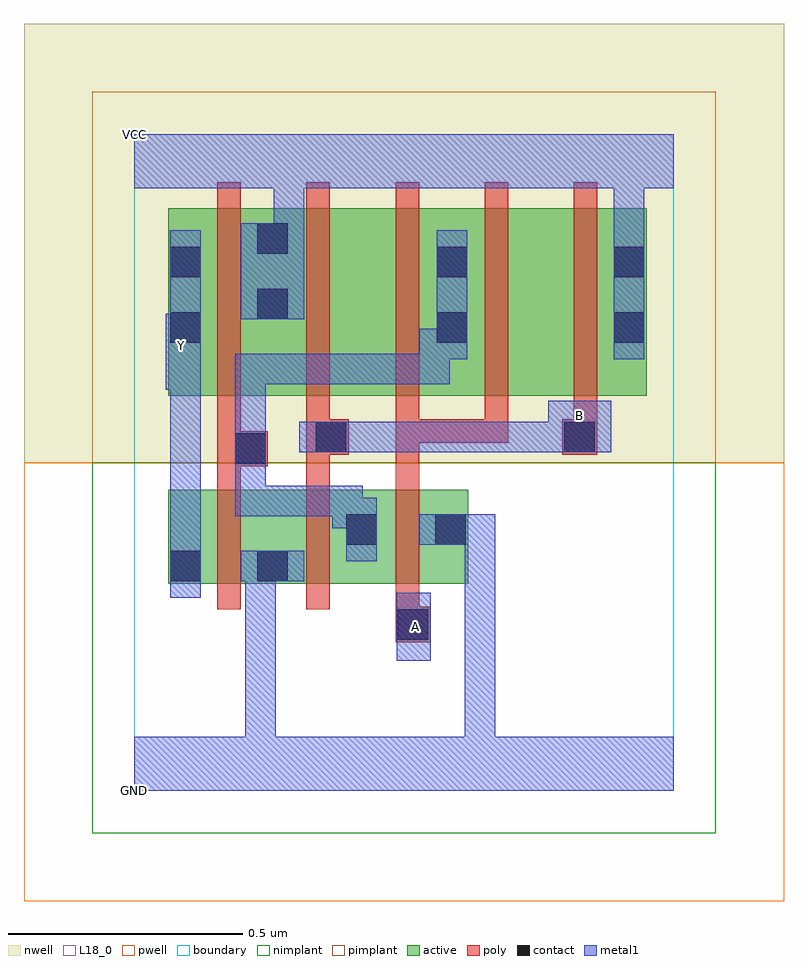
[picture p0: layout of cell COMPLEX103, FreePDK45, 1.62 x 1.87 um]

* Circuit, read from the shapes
.subckt COMPLEX103 A B GND VCC Y
M1 GND n1 Y VSUBS nfet w=0.2u l=0.05u
M2 n1 B GND VSUBS nfet w=0.2u l=0.05u
M3 GND A n1 VSUBS nfet w=0.2u l=0.05u
M4 VCC n1 Y n2 pfet w=0.4u l=0.05u
M5 n3 B VCC n2 pfet w=0.4u l=0.05u
M6 n1 A n3 n2 pfet w=0.4u l=0.05u
M7 n4 A n1 n2 pfet w=0.4u l=0.05u
M8 VCC B n4 n2 pfet w=0.4u l=0.05u
.ends

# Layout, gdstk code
import gdstk
lib = gdstk.Library(unit=1e-6, precision=1e-09)
def R(c, l, rs):  # rectangles x0, y0, x1, y1
    for r in rs: c.add(gdstk.rectangle(r[:2], r[2:], *l))
def A(c, l, x, y, w, h, nx, ny, dx, dy):  # array of equal rectangles
    R(c, l, [(x+i*dx, y+j*dy, x+i*dx+w, y+j*dy+h) for i in range(nx) for j in range(ny)])
active = (1, 0)
pwell = (2, 0)
nwell = (3, 0)
nimplant = (4, 0)
pimplant = (5, 0)
poly = (9, 0)
contact = (10, 0)
metal1 = (11, 0)
L18_0 = (18, 0)
boundary = (235, 0)

complex103 = lib.new_cell('COMPLEX103')
R(complex103, active, [(0.072,0.442,0.147,0.642), (0.072,0.442,0.332,0.642), (0.257,0.442,0.522,0.642), (0.257,0.442,0.332,0.58), (0.447,0.442,0.712,0.642), (0.637,0.442,0.712,0.642), (0.447,0.445,0.522,0.642), (0.072,0.842,0.147,1.165), (0.072,0.842,0.332,1.242), (0.257,0.842,0.487,1.242), (0.257,0.842,0.332,1.242), (0.487,0.842,0.715,1.242), (0.64,0.842,0.715,1.165), (0.64,0.842,0.867,1.242), (0.867,0.842,1.092,1.242), (1.017,0.842,1.092,1.165)])
R(complex103, pwell, [(-0.235,-0.235,1.385,0.7)])
R(complex103, nwell, [(-0.235,0.7,1.385,1.635)])
R(complex103, nimplant, [(-0.09,-0.09,1.24,0.7)])
R(complex103, pimplant, [(-0.09,0.7,1.24,1.49)])
A(complex103, poly, 0.177, 0.387, 0.05, 0.31, 3, 1, 0.19, 0)
A(complex103, poly, 0.367, 0.742, 0.05, 0.095, 4, 1, 0.19, 0)
A(complex103, poly, 0.177, 0.787, 0.05, 0.51, 5, 1, 0.19, 0)
R(complex103, poly, [(0.557,0.317,0.632,0.392), (0.557,0.342,0.607,0.437), (0.177,0.647,0.227,0.742), (0.367,0.647,0.417,0.767), (0.557,0.647,0.607,0.792), (0.177,0.692,0.285,0.767), (0.177,0.717,0.227,0.837), (0.367,0.717,0.457,0.792), (0.912,0.717,0.987,0.792), (0.557,0.742,0.797,0.792), (0.557,0.742,0.607,0.792), (0.557,0.742,0.607,0.792), (0.557,0.742,0.607,0.792), (0.747,0.742,0.797,0.792)])
R(complex103, contact, [(0.562,0.322,0.627,0.387), (0.077,0.447,0.142,0.512), (0.262,0.447,0.327,0.512), (0.452,0.525,0.517,0.59), (0.642,0.525,0.707,0.59), (0.215,0.697,0.28,0.762), (0.387,0.722,0.452,0.787), (0.917,0.722,0.982,0.787), (0.077,0.955,0.142,1.02), (0.645,0.955,0.71,1.02), (1.022,0.955,1.087,1.02), (0.262,1.005,0.327,1.07), (0.077,1.095,0.142,1.16), (0.645,1.095,0.71,1.16), (1.022,1.095,1.087,1.16), (0.262,1.145,0.327,1.21)])
R(complex103, metal1, [(0,0,1.15,0.115), (0.237,0.05,0.302,0.115), (0.237,0.05,0.302,0.115), (0.237,0.05,0.302,0.512), (0.705,0.05,0.77,0.59), (0.56,0.277,0.632,0.422), (0.077,0.412,0.142,0.547), (0.227,0.447,0.362,0.512), (0.237,0.447,0.302,0.512), (0.237,0.447,0.302,0.512), (0.237,0.447,0.302,0.512), (0.237,0.447,0.302,0.512), (0.077,0.482,0.142,0.92), (0.452,0.49,0.517,0.625), (0.607,0.525,0.77,0.59), (0.705,0.525,0.77,0.59), (0.705,0.525,0.77,0.59), (0.705,0.525,0.77,0.59), (0.705,0.525,0.77,0.59), (0.705,0.525,0.77,0.59), (0.705,0.525,0.77,0.59), (0.422,0.56,0.517,0.625), (0.422,0.56,0.487,0.65), (0.215,0.585,0.28,0.65), (0.215,0.585,0.487,0.65), (0.215,0.585,0.28,0.727), (0.215,0.662,0.28,0.727), (0.215,0.662,0.28,0.727), (0.215,0.662,0.28,0.797), (0.215,0.662,0.28,0.932), (0.352,0.722,0.487,0.787), (0.422,0.722,0.487,0.787), (0.422,0.722,0.487,0.787), (0.422,0.722,0.625,0.787), (0.56,0.722,0.625,0.787), (0.56,0.722,0.75,0.787), (0.685,0.722,0.75,0.787), (0.685,0.722,0.81,0.787), (0.745,0.722,0.81,0.787), (0.745,0.722,0.947,0.787), (0.882,0.722,0.947,0.787), (0.882,0.722,0.947,0.787), (0.882,0.722,1.017,0.832), (0.067,0.855,0.142,1.017), (0.215,0.867,0.28,0.932), (0.215,0.867,0.487,0.932), (0.422,0.867,0.487,0.932), (0.422,0.867,0.487,0.932), (0.422,0.867,0.487,0.932), (0.422,0.867,0.672,0.932), (0.607,0.867,0.672,0.985), (0.077,0.92,0.142,1.195), (0.077,0.92,0.142,0.985), (0.607,0.92,0.71,0.985), (0.645,0.92,0.71,1.195), (1.022,0.92,1.087,1.195), (0.227,1.005,0.362,1.21), (1.022,1.13,1.087,1.35), (0.297,1.145,0.362,1.35), (0,1.285,1.15,1.4)])
R(complex103, L18_0, [(0,0,1.15,0.115), (0.237,0.05,0.302,0.115), (0.237,0.05,0.302,0.115), (0.237,0.05,0.302,0.512), (0.705,0.05,0.77,0.59), (0.56,0.277,0.632,0.422), (0.567,0.317,0.632,0.382), (0.077,0.412,0.142,0.547), (0.227,0.447,0.362,0.512), (0.237,0.447,0.302,0.512), (0.237,0.447,0.302,0.512), (0.237,0.447,0.302,0.512), (0.237,0.447,0.302,0.512), (0.077,0.482,0.142,0.92), (0.607,0.525,0.77,0.59), (0.705,0.525,0.77,0.59), (0.705,0.525,0.77,0.59), (0.705,0.525,0.77,0.59), (0.705,0.525,0.77,0.59), (0.705,0.525,0.77,0.59), (0.705,0.525,0.77,0.59), (0.352,0.722,0.487,0.787), (0.422,0.722,0.487,0.787), (0.422,0.722,0.487,0.787), (0.422,0.722,0.625,0.787), (0.56,0.722,0.625,0.787), (0.56,0.722,0.75,0.787), (0.685,0.722,0.75,0.787), (0.685,0.722,0.81,0.787), (0.745,0.722,0.81,0.787), (0.745,0.722,0.947,0.787), (0.882,0.722,0.947,0.787), (0.882,0.722,0.947,0.787), (0.882,0.722,1.017,0.832), (0.917,0.767,0.982,0.832), (0.067,0.855,0.142,1.017), (0.067,0.917,0.132,0.982), (0.077,0.92,0.142,1.195), (0.077,0.92,0.142,0.985), (1.022,0.92,1.087,1.195), (0.227,1.005,0.362,1.21), (1.022,1.13,1.087,1.35), (0.297,1.145,0.362,1.35), (0,1.285,1.15,1.4)])
R(complex103, boundary, [(0,0,1.15,1.4)])
complex103.add(gdstk.Label('A', (0.6,0.35), layer=11, texttype=0))
complex103.add(gdstk.Label('B', (0.95,0.8), layer=11, texttype=0))
complex103.add(gdstk.Label('Y', (0.1,0.95), layer=11, texttype=0))
complex103.add(gdstk.Label('VCC', (0,1.4), layer=11, texttype=0))
complex103.add(gdstk.Label('GND', (0,0), layer=11, texttype=0))

lib.write_gds('COMPLEX103.gds')
